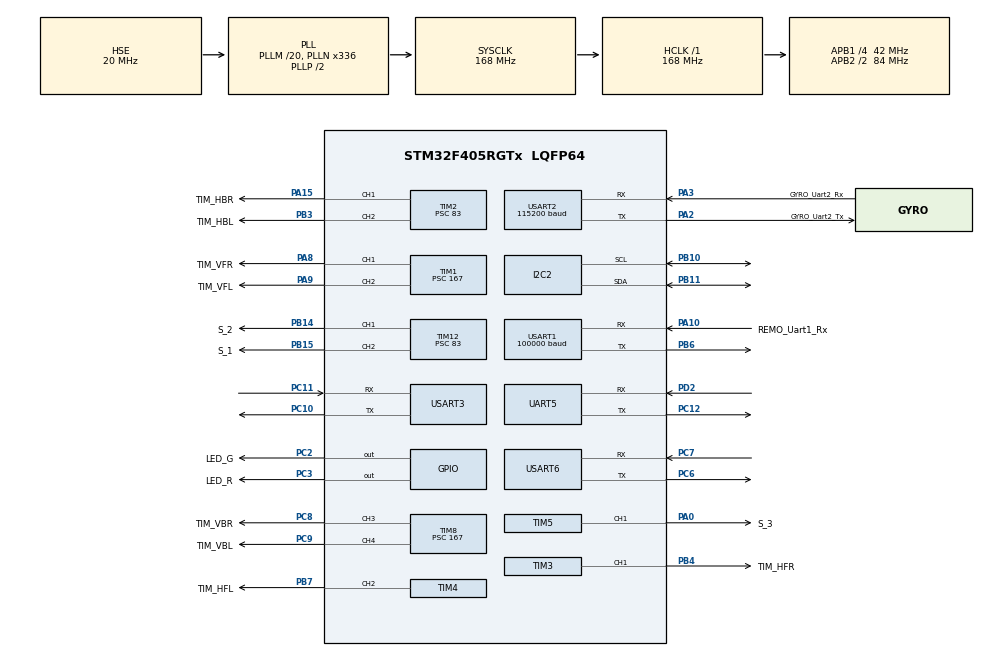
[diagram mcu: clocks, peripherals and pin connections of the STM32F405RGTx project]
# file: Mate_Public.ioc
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Dma.I2C2_RX.7.Direction=DMA_PERIPH_TO_MEMORY
Dma.I2C2_RX.7.FIFOMode=DMA_FIFOMODE_DISABLE
Dma.I2C2_RX.7.Instance=DMA1_Stream2
Dma.I2C2_RX.7.MemDataAlignment=DMA_MDATAALIGN_BYTE
Dma.I2C2_RX.7.MemInc=DMA_MINC_ENABLE
Dma.I2C2_RX.7.Mode=DMA_NORMAL
Dma.I2C2_RX.7.PeriphDataAlignment=DMA_PDATAALIGN_BYTE
Dma.I2C2_RX.7.PeriphInc=DMA_PINC_DISABLE
Dma.I2C2_RX.7.Priority=DMA_PRIORITY_LOW
Dma.Request0=USART2_RX
Dma.Request1=USART2_TX
Dma.Request2=USART1_RX
Dma.Request3=USART6_RX
Dma.Request4=USART6_TX
Dma.Request5=USART3_RX
Dma.Request6=USART3_TX
Dma.Request7=I2C2_RX
Dma.Request8=UART5_RX
Dma.Request9=UART5_TX
Dma.UART5_RX.8.Direction=DMA_PERIPH_TO_MEMORY
Dma.UART5_RX.8.FIFOMode=DMA_FIFOMODE_DISABLE
Dma.UART5_RX.8.Instance=DMA1_Stream0
Dma.UART5_RX.8.MemDataAlignment=DMA_MDATAALIGN_BYTE
Dma.UART5_RX.8.MemInc=DMA_MINC_ENABLE
Dma.UART5_RX.8.Mode=DMA_NORMAL
Dma.UART5_RX.8.PeriphDataAlignment=DMA_PDATAALIGN_BYTE
Dma.UART5_RX.8.PeriphInc=DMA_PINC_DISABLE
Dma.UART5_RX.8.Priority=DMA_PRIORITY_LOW
Dma.UART5_TX.9.Direction=DMA_MEMORY_TO_PERIPH
Dma.UART5_TX.9.FIFOMode=DMA_FIFOMODE_DISABLE
Dma.UART5_TX.9.Instance=DMA1_Stream7
Dma.UART5_TX.9.MemDataAlignment=DMA_MDATAALIGN_BYTE
Dma.UART5_TX.9.MemInc=DMA_MINC_ENABLE
Dma.UART5_TX.9.Mode=DMA_NORMAL
Dma.UART5_TX.9.PeriphDataAlignment=DMA_PDATAALIGN_BYTE
Dma.UART5_TX.9.PeriphInc=DMA_PINC_DISABLE
Dma.UART5_TX.9.Priority=DMA_PRIORITY_LOW
Dma.USART1_RX.2.Direction=DMA_PERIPH_TO_MEMORY
Dma.USART1_RX.2.FIFOMode=DMA_FIFOMODE_DISABLE
Dma.USART1_RX.2.Instance=DMA2_Stream2
Dma.USART1_RX.2.MemDataAlignment=DMA_MDATAALIGN_BYTE
Dma.USART1_RX.2.MemInc=DMA_MINC_ENABLE
Dma.USART1_RX.2.Mode=DMA_NORMAL
Dma.USART1_RX.2.PeriphDataAlignment=DMA_PDATAALIGN_BYTE
Dma.USART1_RX.2.PeriphInc=DMA_PINC_DISABLE
Dma.USART1_RX.2.Priority=DMA_PRIORITY_LOW
Dma.USART2_RX.0.Direction=DMA_PERIPH_TO_MEMORY
Dma.USART2_RX.0.FIFOMode=DMA_FIFOMODE_DISABLE
Dma.USART2_RX.0.Instance=DMA1_Stream5
Dma.USART2_RX.0.MemDataAlignment=DMA_MDATAALIGN_BYTE
Dma.USART2_RX.0.MemInc=DMA_MINC_ENABLE
Dma.USART2_RX.0.Mode=DMA_CIRCULAR
Dma.USART2_RX.0.PeriphDataAlignment=DMA_PDATAALIGN_BYTE
Dma.USART2_RX.0.PeriphInc=DMA_PINC_DISABLE
Dma.USART2_RX.0.Priority=DMA_PRIORITY_VERY_HIGH
Dma.USART2_TX.1.Direction=DMA_MEMORY_TO_PERIPH
Dma.USART2_TX.1.FIFOMode=DMA_FIFOMODE_DISABLE
Dma.USART2_TX.1.Instance=DMA1_Stream6
Dma.USART2_TX.1.MemDataAlignment=DMA_MDATAALIGN_BYTE
Dma.USART2_TX.1.MemInc=DMA_MINC_ENABLE
Dma.USART2_TX.1.Mode=DMA_NORMAL
Dma.USART2_TX.1.PeriphDataAlignment=DMA_PDATAALIGN_BYTE
Dma.USART2_TX.1.PeriphInc=DMA_PINC_DISABLE
Dma.USART2_TX.1.Priority=DMA_PRIORITY_LOW
Dma.USART3_RX.5.Direction=DMA_PERIPH_TO_MEMORY
Dma.USART3_RX.5.FIFOMode=DMA_FIFOMODE_DISABLE
Dma.USART3_RX.5.Instance=DMA1_Stream1
Dma.USART3_RX.5.MemDataAlignment=DMA_MDATAALIGN_BYTE
Dma.USART3_RX.5.MemInc=DMA_MINC_ENABLE
Dma.USART3_RX.5.Mode=DMA_CIRCULAR
Dma.USART3_RX.5.PeriphDataAlignment=DMA_PDATAALIGN_BYTE
Dma.USART3_RX.5.PeriphInc=DMA_PINC_DISABLE
Dma.USART3_RX.5.Priority=DMA_PRIORITY_LOW
Dma.USART3_TX.6.Direction=DMA_MEMORY_TO_PERIPH
Dma.USART3_TX.6.FIFOMode=DMA_FIFOMODE_DISABLE
Dma.USART3_TX.6.Instance=DMA1_Stream3
Dma.USART3_TX.6.MemDataAlignment=DMA_MDATAALIGN_BYTE
Dma.USART3_TX.6.MemInc=DMA_MINC_ENABLE
Dma.USART3_TX.6.Mode=DMA_NORMAL
Dma.USART3_TX.6.PeriphDataAlignment=DMA_PDATAALIGN_BYTE
Dma.USART3_TX.6.PeriphInc=DMA_PINC_DISABLE
Dma.USART3_TX.6.Priority=DMA_PRIORITY_LOW
Dma.USART6_RX.3.Direction=DMA_PERIPH_TO_MEMORY
Dma.USART6_RX.3.FIFOMode=DMA_FIFOMODE_DISABLE
Dma.USART6_RX.3.Instance=DMA2_Stream1
Dma.USART6_RX.3.MemDataAlignment=DMA_MDATAALIGN_BYTE
Dma.USART6_RX.3.MemInc=DMA_MINC_ENABLE
Dma.USART6_RX.3.Mode=DMA_CIRCULAR
Dma.USART6_RX.3.PeriphDataAlignment=DMA_PDATAALIGN_BYTE
Dma.USART6_RX.3.PeriphInc=DMA_PINC_DISABLE
Dma.USART6_RX.3.Priority=DMA_PRIORITY_HIGH
Dma.USART6_TX.4.Direction=DMA_MEMORY_TO_PERIPH
Dma.USART6_TX.4.FIFOMode=DMA_FIFOMODE_DISABLE
Dma.USART6_TX.4.Instance=DMA2_Stream6
Dma.USART6_TX.4.MemDataAlignment=DMA_MDATAALIGN_BYTE
Dma.USART6_TX.4.MemInc=DMA_MINC_ENABLE
Dma.USART6_TX.4.Mode=DMA_NORMAL
Dma.USART6_TX.4.PeriphDataAlignment=DMA_PDATAALIGN_BYTE
Dma.USART6_TX.4.PeriphInc=DMA_PINC_DISABLE
Dma.USART6_TX.4.Priority=DMA_PRIORITY_HIGH
FREERTOS.BinarySemaphores01=sem_USART2_ISR_,Dynamic,NULL;sem_USART1_ISR_,Dynamic,NULL;sem_USART6_ISR_,Dynamic,NULL;sem_USART3_ISR_,Dynamic,NULL
FREERTOS.Tasks01=Thread_LED_,8,128,Thread_LED,Default,NULL,Dynamic,NULL,NULL;Thread_Remote_ISR_,49,128,Thread_Remote_ISR,Default,NULL,Dynamic,NULL,NULL;Thread_Gyro_ISR_,48,128,Thread_Gyro_ISR,Default,NULL,Dynamic,NULL,NULL;Thread_Gyro1_ISR_,48,128,Thread_Gyro1_ISR,Default,NULL,Dynamic,NULL,NULL;Thread_ReservedUart3_ISR_,8,128,Thread_ReservedUart3_ISR,Default,NULL,Dynamic,NULL,NULL;Thread_Depth_ISR_,48,128,Thread_Depth_ISR,Default,NULL,Dynamic,NULL,NULL;Thread_Chassis_,37,128,Thread_Chassis,Default,NULL,Dynamic,NULL,NULL;Thread_Attitude_,36,128,Thread_Attitude,Default,NULL,Dynamic,NULL,NULL;Thread_Claw_,35,128,Thread_Claw,Default,NULL,Dynamic,NULL,NULL;Thread_FunctionVerify_,50,64,Thread_FunctionVerify,Default,NULL,Dynamic,NULL,NULL
FREERTOS.configMAX_TASK_NAME_LEN=40
FREERTOS.configMINIMAL_STACK_SIZE=64
FREERTOS.configTOTAL_HEAP_SIZE=20480
Mcu.Family=STM32F4
Mcu.Name=STM32F405RGTx
Mcu.Package=LQFP64
NVIC.DMA1_Stream0_IRQn=true\:5\:0\:false\:false\:true\:true\:false\:true\:true
NVIC.DMA1_Stream1_IRQn=true\:5\:0\:false\:false\:true\:true\:false\:true\:true
NVIC.DMA1_Stream2_IRQn=true\:5\:0\:false\:false\:true\:true\:false\:true\:true
NVIC.DMA1_Stream3_IRQn=true\:5\:0\:false\:false\:true\:true\:false\:true\:true
NVIC.DMA1_Stream5_IRQn=true\:5\:0\:false\:false\:true\:true\:false\:true\:true
NVIC.DMA1_Stream6_IRQn=true\:5\:0\:false\:false\:true\:true\:false\:true\:true
NVIC.DMA1_Stream7_IRQn=true\:5\:0\:false\:false\:true\:true\:false\:true\:true
NVIC.DMA2_Stream1_IRQn=true\:5\:0\:false\:false\:true\:true\:false\:true\:true
NVIC.DMA2_Stream2_IRQn=true\:5\:0\:false\:false\:true\:true\:false\:true\:true
NVIC.DMA2_Stream6_IRQn=true\:5\:0\:false\:false\:true\:true\:false\:true\:true
NVIC.I2C2_ER_IRQn=true\:5\:0\:false\:false\:true\:true\:true\:true\:true
NVIC.I2C2_EV_IRQn=true\:5\:0\:false\:false\:true\:true\:true\:true\:true
NVIC.PriorityGroup=NVIC_PRIORITYGROUP_4
NVIC.TIM6_DAC_IRQn=true\:15\:0\:false\:false\:true\:false\:false\:true\:true
NVIC.TimeBase=TIM6_DAC_IRQn
NVIC.TimeBaseIP=TIM6
NVIC.UART5_IRQn=true\:5\:0\:false\:false\:true\:true\:true\:true\:true
NVIC.USART1_IRQn=true\:5\:0\:false\:false\:true\:true\:true\:true\:true
NVIC.USART2_IRQn=true\:5\:0\:false\:false\:true\:true\:true\:true\:true
NVIC.USART3_IRQn=true\:5\:0\:false\:false\:true\:true\:true\:true\:true
NVIC.USART6_IRQn=true\:6\:0\:true\:false\:true\:true\:true\:true\:true
PA0-WKUP.GPIO_Label=S_3
PA0-WKUP.Signal=S_TIM5_CH1
PA10.GPIO_Label=REMO_Uart1_Rx
PA10.Mode=Asynchronous
PA10.Signal=USART1_RX
PA13.Mode=Serial_Wire
PA13.Signal=SYS_JTMS-SWDIO
PA14.Mode=Serial_Wire
PA14.Signal=SYS_JTCK-SWCLK
PA15.GPIO_Label=TIM_HBR
PA15.Signal=S_TIM2_CH1_ETR
PA2.GPIO_Label=GYRO_Uart2_Tx
PA2.GPIO_PuPd=GPIO_PULLUP
PA2.Mode=Asynchronous
PA2.Signal=USART2_TX
PA3.GPIO_Label=GYRO_Uart2_Rx
PA3.GPIO_PuPd=GPIO_PULLUP
PA3.Mode=Asynchronous
PA3.Signal=USART2_RX
PA8.GPIO_Label=TIM_VFR
PA8.Signal=S_TIM1_CH1
PA9.GPIO_Label=TIM_VFL
PA9.Signal=S_TIM1_CH2
PB10.GPIO_Pu=GPIO_PULLUP
PB10.Mode=I2C
PB10.Signal=I2C2_SCL
PB11.GPIO_Pu=GPIO_PULLUP
PB11.Mode=I2C
PB11.Signal=I2C2_SDA
PB14.GPIO_Label=S_2
PB14.Signal=S_TIM12_CH1
PB15.GPIO_Label=S_1
PB15.Signal=S_TIM12_CH2
PB3.GPIO_Label=TIM_HBL
PB3.Signal=S_TIM2_CH2
PB4.GPIO_Label=TIM_HFR
PB4.Signal=S_TIM3_CH1
PB6.GPIO_PuPd=GPIO_NOPULL
PB6.Mode=Asynchronous
PB6.Signal=USART1_TX
PB7.GPIO_Label=TIM_HFL
PB7.Signal=S_TIM4_CH2
PC10.Mode=Asynchronous
PC10.Signal=USART3_TX
PC11.Mode=Asynchronous
PC11.Signal=USART3_RX
PC12.Mode=Asynchronous
PC12.Signal=UART5_TX
PC2.GPIO_Label=LED_G
PC2.PinState=GPIO_PIN_RESET
PC2.Signal=GPIO_Output
PC3.GPIO_Label=LED_R
PC3.PinState=GPIO_PIN_SET
PC3.Signal=GPIO_Output
PC6.Mode=Asynchronous
PC6.Signal=USART6_TX
PC7.Mode=Asynchronous
PC7.Signal=USART6_RX
PC8.GPIO_Label=TIM_VBR
PC8.Signal=S_TIM8_CH3
PC9.GPIO_Label=TIM_VBL
PC9.Signal=S_TIM8_CH4
PD2.Mode=Asynchronous
PD2.Signal=UART5_RX
PH0-OSC_IN.Mode=HSE-External-Oscillator
PH0-OSC_IN.Signal=RCC_OSC_IN
PH1-OSC_OUT.Mode=HSE-External-Oscillator
PH1-OSC_OUT.Signal=RCC_OSC_OUT
ProjectManager.HeapSize=0x200
ProjectManager.StackSize=0x400
ProjectManager.TargetToolchain=MDK-ARM V5.32
RCC.48MHZClocksFreq_Value=84000000
RCC.AHBFreq_Value=168000000
RCC.APB1CLKDivider=RCC_HCLK_DIV4
RCC.APB1Freq_Value=42000000
RCC.APB1TimFreq_Value=84000000
RCC.APB2CLKDivider=RCC_HCLK_DIV2
RCC.APB2Freq_Value=84000000
RCC.APB2TimFreq_Value=168000000
RCC.CortexFreq_Value=168000000
RCC.HCLKFreq_Value=168000000
RCC.HSE_VALUE=20000000
RCC.HSI_VALUE=16000000
RCC.LSE_VALUE=32768
RCC.PLLM=20
RCC.PLLN=336
RCC.PLLSourceVirtual=RCC_PLLSOURCE_HSE
RCC.SYSCLKFreq_VALUE=168000000
RCC.SYSCLKSource=RCC_SYSCLKSOURCE_PLLCLK
RCC.VCOOutputFreq_Value=336000000
SH.S_TIM12_CH1.0=TIM12_CH1,PWM Generation1 CH1
SH.S_TIM12_CH2.0=TIM12_CH2,PWM Generation2 CH2
SH.S_TIM1_CH1.0=TIM1_CH1,PWM Generation1 CH1
SH.S_TIM1_CH2.0=TIM1_CH2,PWM Generation2 CH2
SH.S_TIM2_CH1_ETR.0=TIM2_CH1,PWM Generation1 CH1
SH.S_TIM2_CH2.0=TIM2_CH2,PWM Generation2 CH2
SH.S_TIM3_CH1.0=TIM3_CH1,PWM Generation1 CH1
SH.S_TIM4_CH2.0=TIM4_CH2,PWM Generation2 CH2
SH.S_TIM5_CH1.0=TIM5_CH1,PWM Generation1 CH1
SH.S_TIM8_CH3.0=TIM8_CH3,PWM Generation3 CH3
SH.S_TIM8_CH4.0=TIM8_CH4,PWM Generation4 CH4
TIM1.Channel-PWM\ Generation1\ CH1=TIM_CHANNEL_1
TIM1.Channel-PWM\ Generation2\ CH2=TIM_CHANNEL_2
TIM1.Period=19999
TIM1.Prescaler=167
TIM12.Channel-PWM\ Generation1\ CH1=TIM_CHANNEL_1
TIM12.Channel-PWM\ Generation2\ CH2=TIM_CHANNEL_2
TIM12.Period=19999
TIM12.Prescaler=83
TIM2.Channel-PWM\ Generation1\ CH1=TIM_CHANNEL_1
TIM2.Channel-PWM\ Generation2\ CH2=TIM_CHANNEL_2
TIM2.Period=19999
TIM2.Prescaler=83
TIM3.Channel-PWM\ Generation1\ CH1=TIM_CHANNEL_1
TIM3.Period=19999
TIM3.Prescaler=83
TIM4.Channel-PWM\ Generation2\ CH2=TIM_CHANNEL_2
TIM4.Period=19999
TIM4.Prescaler=83
TIM5.Channel-PWM\ Generation1\ CH1=TIM_CHANNEL_1
TIM5.Period=19999
TIM5.Prescaler=83
TIM8.Channel-PWM\ Generation3\ CH3=TIM_CHANNEL_3
TIM8.Channel-PWM\ Generation4\ CH4=TIM_CHANNEL_4
TIM8.Period=19999
TIM8.Prescaler=167
UART5.VirtualMode=Asynchronous
USART1.BaudRate=100000
USART1.Parity=PARITY_EVEN
USART1.VirtualMode=VM_ASYNC
USART1.WordLength=WORDLENGTH_9B
USART2.BaudRate=115200
USART2.Parity=PARITY_NONE
USART2.VirtualMode=VM_ASYNC
USART3.VirtualMode=VM_ASYNC
USART6.VirtualMode=VM_ASYNC
VP_FREERTOS_VS_CMSIS_V2.Mode=CMSIS_V2
VP_SYS_VS_tim6.Mode=TIM6
VP_TIM12_VS_ClockSourceINT.Mode=Internal
VP_TIM1_VS_ClockSourceINT.Mode=Internal
VP_TIM2_VS_ClockSourceINT.Mode=Internal
VP_TIM3_VS_ClockSourceINT.Mode=Internal
VP_TIM4_VS_ClockSourceINT.Mode=Internal
VP_TIM8_VS_ClockSourceINT.Mode=Internal
board=custom

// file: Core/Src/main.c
/* USER CODE BEGIN Header */
/**
  ******************************************************************************
  * @file           : main.c
  * @brief          : Main program body
  ******************************************************************************
  * @attention
  *
  * <h2><center>&copy; Copyright (c) 2022 STMicroelectronics.
  * All rights reserved.</center></h2>
  *
  * This software component is licensed by ST under Ultimate Liberty license
  * SLA0044, the "License"; You may not use this file except in compliance with
  * the License. You may obtain a copy of the License at:
  *                             www.st.com/SLA0044
  *
  ******************************************************************************
  */
/* USER CODE END Header */
#include "main.h"
#include "cmsis_os.h"
#include "dma.h"
#include "i2c.h"
#include "tim.h"
#include "usart.h"
#include "gpio.h"

/* USER CODE BEGIN Includes */
#include "bspConfig.h"
/* USER CODE END Includes */

void SystemClock_Config(void);
void MX_FREERTOS_Init(void);

int main(void)
{

  /* MCU Configuration--------------------------------------------------------*/

  /* Reset of all peripherals, Initializes the Flash interface and the Systick. */
  HAL_Init();

  /* Configure the system clock */
  SystemClock_Config();

  /* Initialize all configured peripherals */
  MX_GPIO_Init();
  MX_DMA_Init();
  MX_TIM1_Init();
  MX_TIM2_Init();
  MX_TIM3_Init();
  MX_TIM4_Init();
  MX_TIM8_Init();
  MX_TIM12_Init();
  MX_USART2_UART_Init();
  MX_USART3_UART_Init();
  MX_USART1_UART_Init();
  MX_USART6_UART_Init();
  MX_I2C2_Init();
  MX_TIM5_Init();
  MX_UART5_Init();
  /* USER CODE BEGIN 2 */
	bsp_init() ;
  /* USER CODE END 2 */

  /* Init scheduler */
  osKernelInitialize();  /* Call init function for freertos objects (in freertos.c) */
  MX_FREERTOS_Init();

  /* Start scheduler */
  osKernelStart();

  /* We should never get here as control is now taken by the scheduler */
  /* Infinite loop */
  while (1)
  {

  }
}

void SystemClock_Config(void)
{
  RCC_OscInitTypeDef RCC_OscInitStruct = {0};
  RCC_ClkInitTypeDef RCC_ClkInitStruct = {0};

  /** Configure the main internal regulator output voltage
  */
  __HAL_RCC_PWR_CLK_ENABLE();
  __HAL_PWR_VOLTAGESCALING_CONFIG(PWR_REGULATOR_VOLTAGE_SCALE1);

  /** Initializes the RCC Oscillators according to the specified parameters
  * in the RCC_OscInitTypeDef structure.
  */
  RCC_OscInitStruct.OscillatorType = RCC_OSCILLATORTYPE_HSE;
  RCC_OscInitStruct.HSEState = RCC_HSE_ON;
  RCC_OscInitStruct.PLL.PLLState = RCC_PLL_ON;
  RCC_OscInitStruct.PLL.PLLSource = RCC_PLLSOURCE_HSE;
  RCC_OscInitStruct.PLL.PLLM = 20;
  RCC_OscInitStruct.PLL.PLLN = 336;
  RCC_OscInitStruct.PLL.PLLP = RCC_PLLP_DIV2;
  RCC_OscInitStruct.PLL.PLLQ = 4;
  if (HAL_RCC_OscConfig(&RCC_OscInitStruct) != HAL_OK)
  {
    Error_Handler();
  }

  /** Initializes the CPU, AHB and APB buses clocks
  */
  RCC_ClkInitStruct.ClockType = RCC_CLOCKTYPE_HCLK|RCC_CLOCKTYPE_SYSCLK
                              |RCC_CLOCKTYPE_PCLK1|RCC_CLOCKTYPE_PCLK2;
  RCC_ClkInitStruct.SYSCLKSource = RCC_SYSCLKSOURCE_PLLCLK;
  RCC_ClkInitStruct.AHBCLKDivider = RCC_SYSCLK_DIV1;
  RCC_ClkInitStruct.APB1CLKDivider = RCC_HCLK_DIV4;
  RCC_ClkInitStruct.APB2CLKDivider = RCC_HCLK_DIV2;

  if (HAL_RCC_ClockConfig(&RCC_ClkInitStruct, FLASH_LATENCY_5) != HAL_OK)
  {
    Error_Handler();
  }
}

void HAL_TIM_PeriodElapsedCallback(TIM_HandleTypeDef *htim)
{
  if (htim->Instance == TIM6) {
    HAL_IncTick();
  }
}

void Error_Handler(void)
{
  __disable_irq();
  while (1)
  {
  }
}

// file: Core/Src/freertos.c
/* USER CODE BEGIN Header */
/**
  ******************************************************************************
  * File Name          : freertos.c
  * Description        : Code for freertos applications
  ******************************************************************************
  * @attention
  *
  * <h2><center>&copy; Copyright (c) 2022 STMicroelectronics.
  * All rights reserved.</center></h2>
  *
  * This software component is licensed by ST under Ultimate Liberty license
  * SLA0044, the "License"; You may not use this file except in compliance with
  * the License. You may obtain a copy of the License at:
  *                             www.st.com/SLA0044
  *
  ******************************************************************************
  */
/* USER CODE END Header */

#include "FreeRTOS.h"
#include "task.h"
#include "main.h"
#include "cmsis_os.h"

/* USER CODE BEGIN Includes */
#include "RTOS.h"
#include "Variables.h"
#include "i2c.h"
#include "Depth.h"
#include "task_chassis.h"
#include "driver_chassis.h"
#include "task_servo.h"
#include "task_attitude.h"
#include "attitude_control.h"
#include "bsp_comm.h"
#include <string.h>

/* USER CODE END Includes */

/* Definitions for Thread_LED_ */
osThreadId_t Thread_LED_Handle;
const osThreadAttr_t Thread_LED__attributes = {
  .name = "Thread_LED_",
  .stack_size = 128 * 4,
  .priority = (osPriority_t) osPriorityLow,
};
/* Definitions for Thread_Remote_ISR_ */
osThreadId_t Thread_Remote_ISR_Handle;
const osThreadAttr_t Thread_Remote_ISR__attributes = {
  .name = "Thread_Remote_ISR_",
  .stack_size = 128 * 4,
  .priority = (osPriority_t) osPriorityRealtime1,
};
/* Definitions for Thread_Gyro_ISR_ */
osThreadId_t Thread_Gyro_ISR_Handle;
const osThreadAttr_t Thread_Gyro_ISR__attributes = {
  .name = "Thread_Gyro_ISR_",
  .stack_size = 128 * 4,
  .priority = (osPriority_t) osPriorityRealtime,
};
/* Definitions for Thread_Gyro1_ISR_ */
osThreadId_t Thread_Gyro1_ISR_Handle;
const osThreadAttr_t Thread_Gyro1_ISR__attributes = {
  .name = "Thread_Gyro1_ISR_",
  .stack_size = 128 * 4,
  .priority = (osPriority_t) osPriorityRealtime,
};
/* Definitions for Thread_ReservedUart3_ISR_ */
osThreadId_t Thread_ReservedUart3_ISR_Handle;
const osThreadAttr_t Thread_ReservedUart3_ISR__attributes = {
  .name = "Thread_ReservedUart3_ISR_",
  .stack_size = 128 * 4,
  .priority = (osPriority_t) osPriorityLow,
};
/* Definitions for Thread_Depth_ISR_ */
osThreadId_t Thread_Depth_ISR_Handle;
const osThreadAttr_t Thread_Depth_ISR__attributes = {
  .name = "Thread_Depth_ISR_",
  .stack_size = 128 * 4,
  .priority = (osPriority_t) osPriorityRealtime,
};
/* Definitions for Thread_Chassis_ */
osThreadId_t Thread_Chassis_Handle;
const osThreadAttr_t Thread_Chassis__attributes = {
  .name = "Thread_Chassis_",
  .stack_size = 128 * 4,
  .priority = (osPriority_t) osPriorityAboveNormal5,
};
/* Definitions for Thread_Attitude_ */
osThreadId_t Thread_Attitude_Handle;
const osThreadAttr_t Thread_Attitude__attributes = {
  .name = "Thread_Attitude_",
  .stack_size = 128 * 4,
  .priority = (osPriority_t) osPriorityAboveNormal4,
};
/* Definitions for Thread_Claw_ */
osThreadId_t Thread_Claw_Handle;
const osThreadAttr_t Thread_Claw__attributes = {
  .name = "Thread_Claw_",
  .stack_size = 128 * 4,
  .priority = (osPriority_t) osPriorityAboveNormal3,
};
/* Definitions for Thread_FunctionVerify_ */
osThreadId_t Thread_FunctionVerify_Handle;
const osThreadAttr_t Thread_FunctionVerify__attributes = {
  .name = "Thread_FunctionVerify_",
  .stack_size = 64 * 4,
  .priority = (osPriority_t) osPriorityRealtime2,
};
/* Definitions for sem_USART2_ISR_ */
osSemaphoreId_t sem_USART2_ISR_Handle;
const osSemaphoreAttr_t sem_USART2_ISR__attributes = {
  .name = "sem_USART2_ISR_"
};
/* Definitions for sem_USART1_ISR_ */
osSemaphoreId_t sem_USART1_ISR_Handle;
const osSemaphoreAttr_t sem_USART1_ISR__attributes = {
  .name = "sem_USART1_ISR_"
};
/* Definitions for sem_USART6_ISR_ */
osSemaphoreId_t sem_USART6_ISR_Handle;
const osSemaphoreAttr_t sem_USART6_ISR__attributes = {
  .name = "sem_USART6_ISR_"
};
/* Definitions for sem_USART3_ISR_ */
osSemaphoreId_t sem_USART3_ISR_Handle;
const osSemaphoreAttr_t sem_USART3_ISR__attributes = {
  .name = "sem_USART3_ISR_"
};

void Thread_LED(void *argument);
void Thread_Remote_ISR(void *argument);
void Thread_Gyro_ISR(void *argument);
void Thread_Gyro1_ISR(void *argument);
void Thread_ReservedUart3_ISR(void *argument);
void Thread_Depth_ISR(void *argument);
void Thread_Chassis(void *argument);
void Thread_Attitude(void *argument);
void Thread_Claw(void *argument);
void Thread_FunctionVerify(void *argument);

void MX_FREERTOS_Init(void); /* (MISRA C 2004 rule 8.1) */

void MX_FREERTOS_Init(void) {

  /* Create the semaphores(s) */
  /* creation of sem_USART2_ISR_ */
  sem_USART2_ISR_Handle = osSemaphoreNew(1, 1, &sem_USART2_ISR__attributes);

  /* creation of sem_USART1_ISR_ */
  sem_USART1_ISR_Handle = osSemaphoreNew(1, 1, &sem_USART1_ISR__attributes);

  /* creation of sem_USART6_ISR_ */
  sem_USART6_ISR_Handle = osSemaphoreNew(1, 1, &sem_USART6_ISR__attributes);

  /* creation of sem_USART3_ISR_ */
  sem_USART3_ISR_Handle = osSemaphoreNew(1, 1, &sem_USART3_ISR__attributes);

  /* Create the thread(s) */
  /* creation of Thread_LED_ */
  Thread_LED_Handle = osThreadNew(Thread_LED, NULL, &Thread_LED__attributes);

  /* creation of Thread_Remote_ISR_ */
  Thread_Remote_ISR_Handle = osThreadNew(Thread_Remote_ISR, NULL, &Thread_Remote_ISR__attributes);

  /* creation of Thread_Gyro_ISR_ */
  Thread_Gyro_ISR_Handle = osThreadNew(Thread_Gyro_ISR, NULL, &Thread_Gyro_ISR__attributes);

  /* creation of Thread_Gyro1_ISR_ */
  Thread_Gyro1_ISR_Handle = osThreadNew(Thread_Gyro1_ISR, NULL, &Thread_Gyro1_ISR__attributes);

  /* creation of Thread_ReservedUart3_ISR_ */
  Thread_ReservedUart3_ISR_Handle = osThreadNew(Thread_ReservedUart3_ISR, NULL, &Thread_ReservedUart3_ISR__attributes);

  /* creation of Thread_Depth_ISR_ */
  Thread_Depth_ISR_Handle = osThreadNew(Thread_Depth_ISR, NULL, &Thread_Depth_ISR__attributes);

  /* creation of Thread_Chassis_ */
  Thread_Chassis_Handle = osThreadNew(Thread_Chassis, NULL, &Thread_Chassis__attributes);

  /* creation of Thread_Attitude_ */
  Thread_Attitude_Handle = osThreadNew(Thread_Attitude, NULL, &Thread_Attitude__attributes);

  /* creation of Thread_Claw_ */
  Thread_Claw_Handle = osThreadNew(Thread_Claw, NULL, &Thread_Claw__attributes);

  /* creation of Thread_FunctionVerify_ */
  Thread_FunctionVerify_Handle = osThreadNew(Thread_FunctionVerify, NULL, &Thread_FunctionVerify__attributes);

}

void Thread_LED(void *argument)
{
  /* USER CODE BEGIN Thread_LED */
  /* Infinite loop */
  for(;;)
  {
		HAL_GPIO_TogglePin(LED_G_GPIO_Port, LED_G_Pin) ;
		HAL_GPIO_TogglePin(LED_R_GPIO_Port, LED_R_Pin) ;
    osDelay(500);
  }
  /* USER CODE END Thread_LED */
}

void Thread_Remote_ISR(void *argument)
{
  /* USER CODE BEGIN Thread_Remote_ISR */
	osStatus_t val ;
  /* Infinite loop */
  for(;;)
  {
		val = osSemaphoreAcquire(sem_USART1_ISR_Handle, 1000) ;
		switch(val)
		{
			case osOK :
			{
				/* 遥控器正常接收处理 */
//				memcpy(UART11_TX.DataBuf, (const void*) UART1_RX.DataBuf, UART1_RX.DataLength) ;
//				UART11_TX.DataLength = UART1_RX.DataLength ;
				UART11_TX.Flag = 1 ;
				UART1_RX.Flag = 0 ;
//				COMM_Transmit(&UART11_TX) ;
//				REMO_GetData(&REMO_Data) ;
//				RemoteTaskControl(&RemoteDataPort);
				break ;
			}
			default :
			{
				/* 遥控器接收超时处理 （关控保护）*/
				break ;
			}
		}
  }
  /* USER CODE END Thread_Remote_ISR */
}

void Thread_Gyro_ISR(void *argument)
{
  /* USER CODE BEGIN Thread_Gyro_ISR */
	osStatus_t val ;
  /* Infinite loop */
  for(;;)
  {
    val = osSemaphoreAcquire(sem_USART2_ISR_Handle, osWaitForever) ;
		uint8_t id ;
		switch(val)
		{
			case osOK :
			{
				/* 虚拟串口正常接收处理 */
				id = COMM_Receive(&COMM_RX) ;
//				GYRO_GetData(&GYRO_Data) ;
				break ;
			}
			default :
			{
				/* 虚拟串口接收错误处理 */
				break ;
			}
		}
  }
  /* USER CODE END Thread_Gyro_ISR */
}

void Thread_Gyro1_ISR(void *argument)
{
  /* USER CODE BEGIN Thread_Gyro1_ISR */
	osStatus_t val ;
  /* Infinite loop */
  for(;;)
  {
    val = osSemaphoreAcquire(sem_USART6_ISR_Handle, 1000) ;
		switch(val)
		{
			case osOK :
			{
				/* 板载陀螺仪正常接收处理 */
				get_HI229UMGyroData(&GYRO1_DATA);
				break ;
			}
			default :
			{
				/* 板载陀螺仪接收超时处理 */
				break ;
			}
		}
  }
  /* USER CODE END Thread_Gyro1_ISR */
}

void Thread_ReservedUart3_ISR(void *argument)
{
  for(;;)
  {
    osDelay(1);
  }
}

void Thread_Depth_ISR(void *argument)
{
  for(;;)
  {
    osDelay(1);
  }
}

void Thread_Chassis(void *argument)
{
  /* USER CODE BEGIN Thread_Chassis */
	ChassisInit();
  /* Infinite loop */
  for(;;)
  {
		ChassisControlTask();
    osDelay(1);
  }
  /* USER CODE END Thread_Chassis */
}

void Thread_Attitude(void *argument)
{
  /* USER CODE BEGIN Thread_Attitude */
	AttitudeInit();
  /* Infinite loop */
  for(;;)
  {

		AttitudeControlTask();
    osDelay(1);
  }
  /* USER CODE END Thread_Attitude */
}

void Thread_Claw(void *argument)
{
  /* USER CODE BEGIN Thread_Claw */
  /* Infinite loop */
  for(;;)
  {
		depth();
		ModeChooseandExcute(RemoteDataPort);
    osDelay(1);
  }
  /* USER CODE END Thread_Claw */
}

/* USER CODE BEGIN Header_Thread_FunctionVerify */
/**
* @brief Function implementing the Thread_FunctionVerify_ thread.
* @param argument: Not used
* @retval None
*/
u8 WaveSend[20];
u8 EnableFlag =20;
u8 Mode =5;

/* USER CODE END Header_Thread_FunctionVerify */
void Thread_FunctionVerify(void *argument)
{
  /* USER CODE BEGIN Thread_FunctionVerify */
	WaveInit();
  /* Infinite loop */
  for(;;)
  {

		WaveSend[0] = 0xff ;
		WaveSend[1] = 0xff ;
		WaveSend[2] = 0x17 ;
		for(int i =3;i<9;i++)
			WaveSend[i] = UART1_RX.DataBuf[i-3];
		WaveSend[9] = EnableFlag ;
		WaveSend[10] = Mode ;
		WaveSend[11] = (int8_t)((Rel.Fpara+2.5) *50)&0xff ;
		WaveSend[12] = (int8_t)((Rel.Fpara+2.5) *50)&0xff ;
		WaveSend[13] = (int8_t)(Rel.Current *50)&0xff ;
		WaveSend[14] = (int8_t)((Rel.fai+2.5) *50)&0xff ;

				memcpy(UART11_TX.DataBuf, (const void*) WaveSend, 15) ;
				UART11_TX.DataLength = 15 ;

		bsp_Uart_Transmit(&UART11_TX) ;
		osDelay(400) ;

  }

  /* USER CODE END Thread_FunctionVerify */
}
